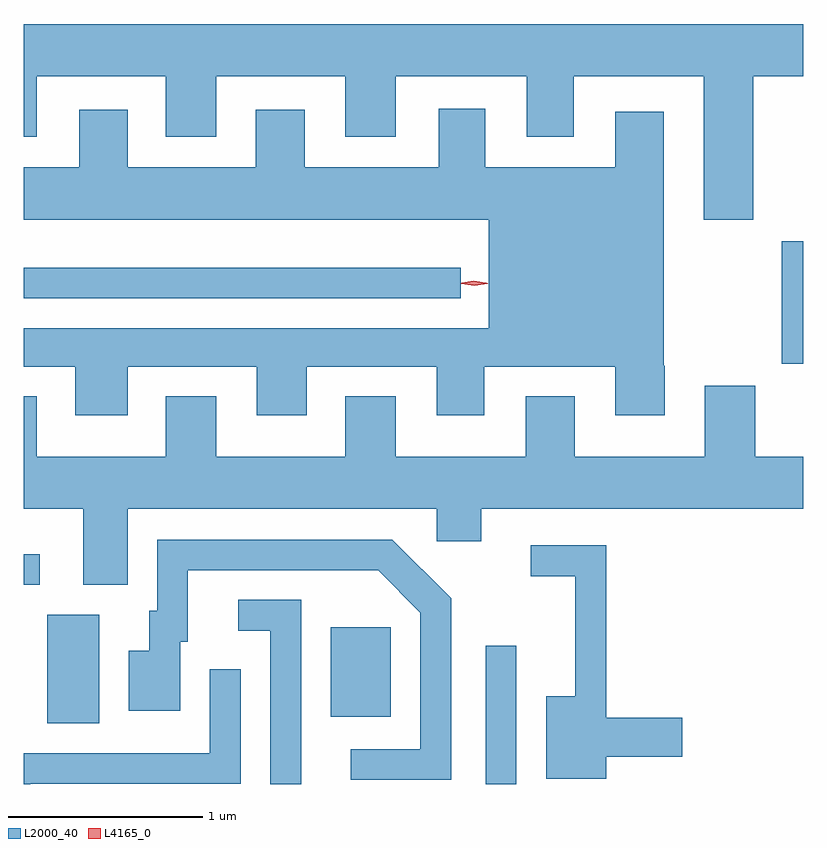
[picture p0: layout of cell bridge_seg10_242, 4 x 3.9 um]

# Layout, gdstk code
import gdstk
lib = gdstk.Library(unit=1e-6, precision=1e-09)
def R(c, l, rs):  # rectangles x0, y0, x1, y1
    for r in rs: c.add(gdstk.rectangle(r[:2], r[2:], *l))
def P(c, l, *ps):  # polygons
    for p in ps: c.add(gdstk.Polygon(p, *l))
L2000_40 = (2000, 40)
L4165_0 = (4165, 0)

bridge_seg10_242 = lib.new_cell('bridge_seg10_242')
R(bridge_seg10_242, L2000_40, [(1782.946,2096.965,1783.104,2097.673), (1780.696,2097.276,1780.964,2097.834), (1782.151,2097.311,1782.459,2097.769), (1780.576,2097.986,1780.658,2098.144), (1784.466,2099.121,1784.576,2099.749), (1780.576,2099.456,1782.818,2099.614)])
P(bridge_seg10_242, L2000_40, [(1784.319,2100.596),(1784.576,2100.596),(1784.576,2100.864),(1780.576,2100.864),(1780.576,2100.286),(1780.644,2100.286),(1780.644,2100.596),(1781.306,2100.596),(1781.306,2100.286),(1781.564,2100.286),(1781.564,2100.596),(1782.226,2100.596),(1782.226,2100.286),(1782.484,2100.286),(1782.484,2100.596),(1783.156,2100.596),(1783.156,2100.286),(1783.399,2100.286),(1783.399,2100.596),(1784.066,2100.596),(1784.066,2099.861),(1784.319,2099.861)],
  [(1781.109,2099.106),(1781.771,2099.106),(1781.771,2098.856),(1782.029,2098.856),(1782.029,2099.106),(1782.696,2099.106),(1782.696,2098.856),(1782.939,2098.856),(1782.939,2099.106),(1783.611,2099.106),(1783.611,2098.856),(1783.864,2098.856),(1783.864,2099.11),(1783.859,2099.11),(1783.859,2100.414),(1783.611,2100.414),(1783.611,2100.129),(1782.944,2100.129),(1782.944,2100.429),(1782.706,2100.429),(1782.706,2100.129),(1782.019,2100.129),(1782.019,2100.424),(1781.766,2100.424),(1781.766,2100.129),(1781.109,2100.129),(1781.109,2100.424),(1780.861,2100.424),(1780.861,2100.129),(1780.576,2100.129),(1780.576,2099.861),(1782.961,2099.861),(1782.961,2099.304),(1780.576,2099.304),(1780.576,2099.106),(1780.841,2099.106),(1780.841,2098.856),(1781.109,2098.856)],
  [(1784.576,2098.644),(1784.329,2098.644),(1784.329,2099.009),(1784.071,2099.009),(1784.071,2098.644),(1783.404,2098.644),(1783.404,2098.954),(1783.151,2098.954),(1783.151,2098.644),(1782.484,2098.644),(1782.484,2098.954),(1782.226,2098.954),(1782.226,2098.644),(1781.564,2098.644),(1781.564,2098.954),(1781.306,2098.954),(1781.306,2098.644),(1780.644,2098.644),(1780.644,2098.954),(1780.576,2098.954),(1780.576,2098.376),(1780.881,2098.376),(1780.881,2097.986),(1781.109,2097.986),(1781.109,2098.376),(1782.696,2098.376),(1782.696,2098.211),(1782.924,2098.211),(1782.924,2098.376),(1784.576,2098.376)],
  [(1782.769,2097.917),(1782.467,2098.219),(1781.261,2098.219),(1781.261,2097.854),(1781.221,2097.854),(1781.221,2097.649),(1781.116,2097.649),(1781.116,2097.341),(1781.379,2097.341),(1781.379,2097.696),(1781.419,2097.696),(1781.419,2098.061),(1782.394,2098.061),(1782.611,2097.844),(1782.611,2097.144),(1782.253,2097.144),(1782.253,2096.986),(1782.769,2096.986)],
  [(1783.564,2097.106),(1783.954,2097.106),(1783.954,2097.304),(1783.564,2097.304),(1783.564,2098.189),(1783.178,2098.189),(1783.178,2098.031),(1783.406,2098.031),(1783.406,2097.414),(1783.256,2097.414),(1783.256,2096.991),(1783.564,2096.991)],
  [(1781.999,2097.909),(1781.678,2097.909),(1781.678,2097.751),(1781.841,2097.751),(1781.841,2096.965),(1781.999,2096.965)],
  [(1780.609,2096.966),(1781.689,2096.966),(1781.689,2097.553),(1781.531,2097.553),(1781.531,2097.124),(1780.576,2097.124),(1780.576,2096.965),(1780.609,2096.965)])
P(bridge_seg10_242, L4165_0, [(1782.888,2099.522),(1782.82,2099.532),(1782.819,2099.532),(1782.82,2099.533),(1782.889,2099.542),(1782.957,2099.533),(1782.958,2099.532),(1782.957,2099.532)],
  [(1782.886,2099.526),(1782.823,2099.535),(1782.823,2099.535),(1782.823,2099.536),(1782.885,2099.546),(1782.947,2099.536),(1782.948,2099.536),(1782.947,2099.535)])

lib.write_gds('bridge_seg10_242.gds')
